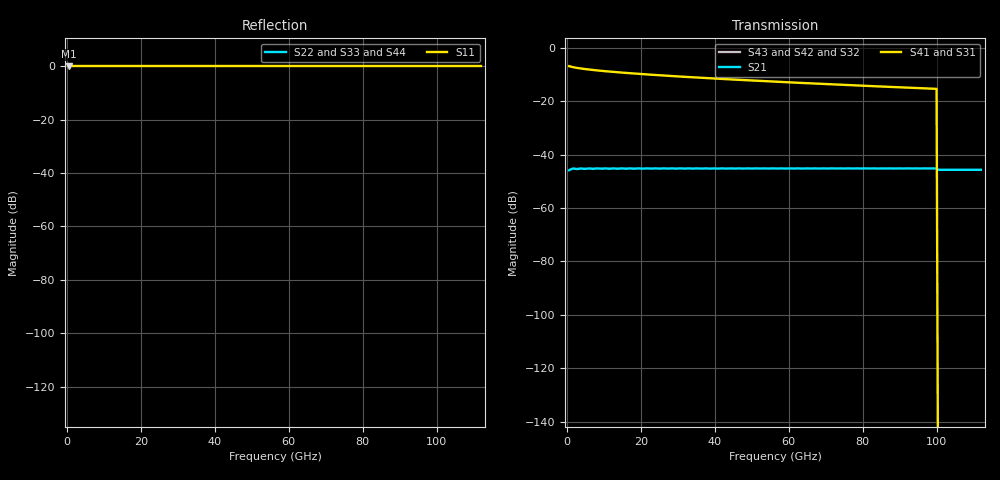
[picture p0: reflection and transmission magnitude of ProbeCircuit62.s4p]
! File created by SignalIntegrity v1.2.1: Signal and Power Integrity Tools
! https://github.com/TeledyneLeCroy/SignalIntegrity
# MHz S MA R 50.0
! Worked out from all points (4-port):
!   224 points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, 500 MHz to 112 GHz, reference 50 ohm
!   strongest paths, dB at 500 MHz, 28.5 GHz, 56.5 GHz, 84.5 GHz, 112 GHz:
!     S41: -6.9, -10.6, -12.7, -14.5, -
!     S31: -6.9, -10.6, -12.7, -14.5, -
!     S21: -45.8, -45.2, -45.2, -45.2, -45.7
!     S43: -, -, -, -, -
!     S42: -, -, -, -, -
!     S32: -, -, -, -, -
!   lowest |S11| = 0.0 dB at 500 MHz (marker M1)
!   |S11| at or under -10 dB: nowhere
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500  1 0.0  0 0.0  0 0.0  0 0.0
     0.005109 1.5  0 0.0  0 0.0  0 0.0
     0.453 -42.4  0 0.0  0 0.0  0 0.0
     0.453 -42.4  0 0.0  0 0.0  0 0.0
2000  1 0.0  0 0.0  0 0.0  0 0.0
      0.005453 0.4  0 0.0  0 0.0  0 0.0
      0.4275 -163.9  0 0.0  0 0.0  0 0.0
      0.4275 -163.9  0 0.0  0 0.0  0 0.0
4500  1 0.0  0 0.0  0 0.0  0 0.0
      0.005416 0.3  0 0.0  0 0.0  0 0.0
      0.4024 -4.0  0 0.0  0 0.0  0 0.0
      0.4024 -4.0  0 0.0  0 0.0  0 0.0
6500  1 0.0  0 0.0  0 0.0  0 0.0
      0.005453 0.1  0 0.0  0 0.0  0 0.0
      0.3874 -163.6  0 0.0  0 0.0  0 0.0
      0.3874 -163.6  0 0.0  0 0.0  0 0.0
100000  1 0.0  0 0.0  0 0.0  0 0.0
        0.005496 0.1  0 0.0  0 0.0  0 0.0
        0.1703 -10.2  0 0.0  0 0.0  0 0.0
        0.1703 -10.2  0 0.0  0 0.0  0 0.0
100500  1 0.0  0 0.0  0 0.0  0 0.0
        0.005195 0.0  0 0.0  0 0.0  0 0.0
        0 0.0  0 0.0  0 0.0  0 0.0
        0 0.0  0 0.0  0 0.0  0 0.0
112000  1 0.0  0 0.0  0 0.0  0 0.0
        0.005195 0.0  0 0.0  0 0.0  0 0.0
        0 0.0  0 0.0  0 0.0  0 0.0
        0 0.0  0 0.0  0 0.0  0 0.0
